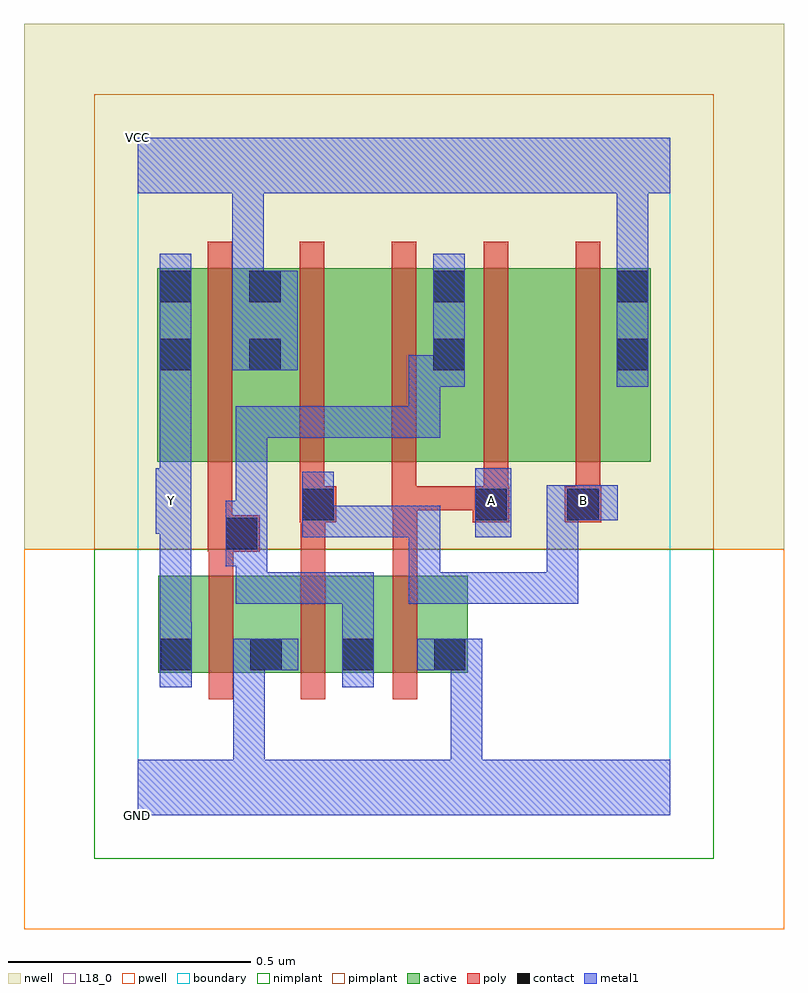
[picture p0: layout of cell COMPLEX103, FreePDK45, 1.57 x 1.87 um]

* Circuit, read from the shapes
.subckt COMPLEX103 A B GND VCC Y
M1 GND n1 Y VSUBS nfet w=0.2u l=0.05u
M2 n1 B GND VSUBS nfet w=0.2u l=0.05u
M3 GND A n1 VSUBS nfet w=0.2u l=0.05u
M4 VCC n1 Y n2 pfet w=0.4u l=0.05u
M5 n3 B VCC n2 pfet w=0.4u l=0.05u
M6 n1 A n3 n2 pfet w=0.4u l=0.05u
M7 n4 A n1 n2 pfet w=0.4u l=0.05u
M8 VCC B n4 n2 pfet w=0.4u l=0.05u
.ends

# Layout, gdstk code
import gdstk
lib = gdstk.Library(unit=1e-6, precision=1e-09)
def R(c, l, rs):  # rectangles x0, y0, x1, y1
    for r in rs: c.add(gdstk.rectangle(r[:2], r[2:], *l))
def A(c, l, x, y, w, h, nx, ny, dx, dy):  # array of equal rectangles
    R(c, l, [(x+i*dx, y+j*dy, x+i*dx+w, y+j*dy+h) for i in range(nx) for j in range(ny)])
active = (1, 0)
pwell = (2, 0)
nwell = (3, 0)
nimplant = (4, 0)
pimplant = (5, 0)
poly = (9, 0)
contact = (10, 0)
metal1 = (11, 0)
L18_0 = (18, 0)
boundary = (235, 0)

complex103 = lib.new_cell('COMPLEX103')
A(complex103, active, 0.225, 0.73, 0.075, 0.4, 3, 1, 0.38, 0)
R(complex103, active, [(0.042,0.295,0.117,0.495), (0.042,0.295,0.302,0.495), (0.227,0.295,0.302,0.495), (0.227,0.295,0.492,0.495), (0.417,0.295,0.682,0.495), (0.417,0.295,0.492,0.37), (0.607,0.295,0.682,0.495), (0.04,0.73,0.115,1.13), (0.04,0.73,0.3,1.13), (0.225,0.73,0.455,1.13), (0.455,0.73,0.68,1.13), (0.605,0.73,0.835,1.13), (0.835,0.73,1.06,1.13)])
R(complex103, pwell, [(-0.235,-0.235,1.335,0.55)])
R(complex103, nwell, [(-0.235,0.55,1.335,1.635)])
R(complex103, nimplant, [(-0.09,-0.09,1.19,0.55)])
R(complex103, pimplant, [(-0.09,0.55,1.19,1.49)])
A(complex103, poly, 0.147, 0.24, 0.05, 0.31, 3, 1, 0.19, 0)
A(complex103, poly, 0.335, 0.63, 0.05, 0.095, 4, 1, 0.19, 0)
A(complex103, poly, 0.145, 0.675, 0.05, 0.51, 5, 1, 0.19, 0)
R(complex103, poly, [(0.147,0.5,0.197,0.595), (0.337,0.5,0.387,0.655), (0.527,0.5,0.577,0.68), (0.145,0.545,0.252,0.62), (0.145,0.57,0.195,0.725), (0.335,0.605,0.41,0.68), (0.692,0.605,0.767,0.68), (0.882,0.605,0.957,0.68), (0.525,0.63,0.577,0.68), (0.527,0.63,0.742,0.68), (0.527,0.63,0.577,0.68), (0.527,0.63,0.577,0.68)])
A(complex103, contact, 0.232, 0.3, 0.065, 0.065, 3, 1, 0.19, 0)
A(complex103, contact, 0.23, 0.92, 0.065, 0.065, 3, 2, 0.38, 0.14)
R(complex103, contact, [(0.047,0.3,0.112,0.365), (0.182,0.55,0.247,0.615), (0.34,0.61,0.405,0.675), (0.697,0.61,0.762,0.675), (0.887,0.61,0.952,0.675), (0.045,0.92,0.11,0.985), (0.045,1.06,0.11,1.125)])
R(complex103, metal1, [(0,0,1.1,0.115), (0.197,0.05,0.262,0.115), (0.197,0.05,0.262,0.115), (0.197,0.05,0.262,0.365), (0.647,0.05,0.712,0.115), (0.647,0.05,0.712,0.115), (0.647,0.05,0.712,0.365), (0.045,0.265,0.112,0.4), (0.422,0.265,0.487,0.4), (0.197,0.3,0.262,0.365), (0.197,0.3,0.262,0.365), (0.197,0.3,0.332,0.365), (0.577,0.3,0.712,0.365), (0.647,0.3,0.712,0.365), (0.647,0.3,0.712,0.365), (0.045,0.335,0.11,0.647), (0.422,0.335,0.487,0.4), (0.422,0.335,0.487,0.502), (0.202,0.437,0.267,0.502), (0.202,0.437,0.487,0.502), (0.202,0.437,0.267,0.58), (0.56,0.437,0.625,0.502), (0.56,0.437,0.762,0.502), (0.56,0.437,0.625,0.64), (0.697,0.437,0.762,0.502), (0.697,0.437,0.91,0.502), (0.845,0.437,0.91,0.502), (0.845,0.437,0.91,0.675), (0.182,0.515,0.247,0.65), (0.182,0.515,0.267,0.58), (0.202,0.515,0.267,0.58), (0.202,0.515,0.267,0.845), (0.34,0.575,0.405,0.64), (0.34,0.575,0.405,0.64), (0.34,0.575,0.625,0.64), (0.34,0.575,0.405,0.71), (0.56,0.575,0.625,0.64), (0.56,0.575,0.625,0.64), (0.56,0.575,0.625,0.64), (0.697,0.575,0.772,0.717), (0.037,0.582,0.11,0.717), (0.845,0.61,0.91,0.675), (0.845,0.61,0.91,0.675), (0.845,0.61,0.992,0.682), (0.045,0.652,0.11,0.95), (0.202,0.78,0.267,0.845), (0.202,0.78,0.487,0.845), (0.422,0.78,0.487,0.845), (0.422,0.78,0.487,0.845), (0.422,0.78,0.487,0.845), (0.422,0.78,0.625,0.845), (0.56,0.78,0.625,0.95), (0.045,0.885,0.11,1.16), (0.56,0.885,0.675,0.95), (0.61,0.885,0.675,1.16), (0.99,0.885,1.055,1.16), (0.195,0.92,0.33,1.125), (0.195,1.06,0.26,1.175), (0.99,1.095,1.055,1.195), (0.195,1.11,0.26,1.175), (0.195,1.11,0.26,1.35), (0.99,1.13,1.055,1.35), (0.99,1.13,1.055,1.195), (0,1.285,1.1,1.4)])
R(complex103, L18_0, [(0,0,1.1,0.115), (0.197,0.05,0.262,0.115), (0.197,0.05,0.262,0.115), (0.197,0.05,0.262,0.365), (0.647,0.05,0.712,0.115), (0.647,0.05,0.712,0.115), (0.647,0.05,0.712,0.365), (0.045,0.265,0.112,0.4), (0.197,0.3,0.262,0.365), (0.197,0.3,0.262,0.365), (0.197,0.3,0.332,0.365), (0.577,0.3,0.712,0.365), (0.647,0.3,0.712,0.365), (0.647,0.3,0.712,0.365), (0.045,0.335,0.11,0.647), (0.56,0.437,0.625,0.502), (0.56,0.437,0.625,0.64), (0.56,0.437,0.762,0.502), (0.697,0.437,0.762,0.502), (0.697,0.437,0.91,0.502), (0.845,0.437,0.91,0.502), (0.845,0.437,0.91,0.675), (0.34,0.575,0.405,0.64), (0.34,0.575,0.405,0.64), (0.34,0.575,0.405,0.71), (0.34,0.575,0.625,0.64), (0.56,0.575,0.625,0.64), (0.56,0.575,0.625,0.64), (0.56,0.575,0.625,0.64), (0.697,0.575,0.772,0.717), (0.037,0.582,0.11,0.717), (0.845,0.61,0.91,0.675), (0.845,0.61,0.91,0.675), (0.845,0.61,0.992,0.682), (0.037,0.617,0.102,0.682), (0.697,0.617,0.762,0.682), (0.887,0.617,0.952,0.682), (0.045,0.652,0.11,0.95), (0.045,0.885,0.11,1.16), (0.99,0.885,1.055,1.16), (0.195,0.92,0.33,1.125), (0.195,1.06,0.26,1.175), (0.99,1.095,1.055,1.195), (0.195,1.11,0.26,1.175), (0.195,1.11,0.26,1.35), (0.99,1.13,1.055,1.195), (0.99,1.13,1.055,1.35), (0,1.285,1.1,1.4)])
R(complex103, boundary, [(0,0,1.1,1.4)])
complex103.add(gdstk.Label('A', (0.73,0.65), layer=11, texttype=0))
complex103.add(gdstk.Label('B', (0.92,0.65), layer=11, texttype=0))
complex103.add(gdstk.Label('Y', (0.07,0.65), layer=11, texttype=0))
complex103.add(gdstk.Label('VCC', (0,1.4), layer=11, texttype=0))
complex103.add(gdstk.Label('GND', (0,0), layer=11, texttype=0))

lib.write_gds('COMPLEX103.gds')
